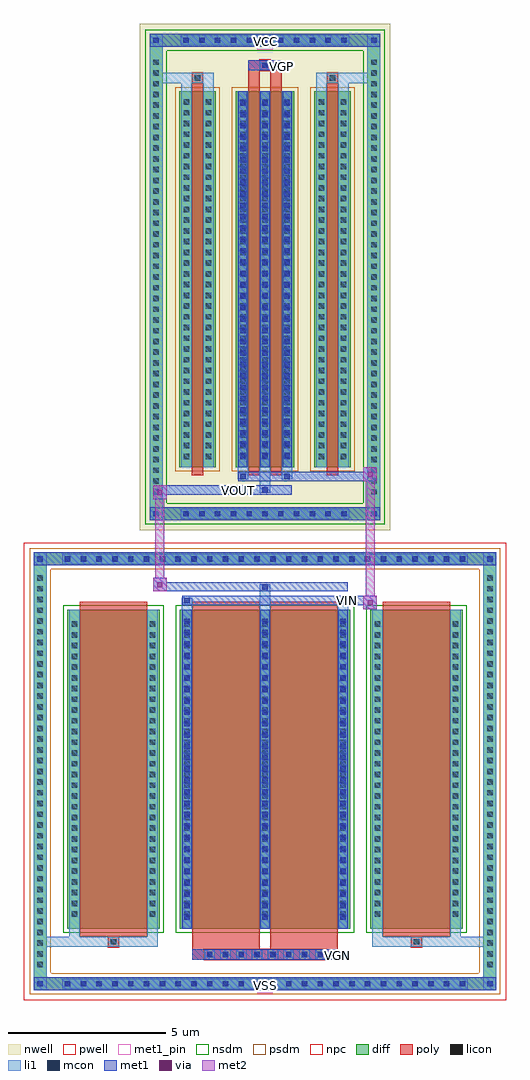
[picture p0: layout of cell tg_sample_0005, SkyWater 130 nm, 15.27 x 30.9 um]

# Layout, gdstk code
import gdstk
lib = gdstk.Library(unit=1e-6, precision=5e-09)
def R(c, l, rs):  # rectangles x0, y0, x1, y1
    for r in rs: c.add(gdstk.rectangle(r[:2], r[2:], *l))
def A(c, l, x, y, w, h, nx, ny, dx, dy):  # array of equal rectangles
    R(c, l, [(x+i*dx, y+j*dy, x+i*dx+w, y+j*dy+h) for i in range(nx) for j in range(ny)])
def P(c, l, *ps):  # polygons
    for p in ps: c.add(gdstk.Polygon(p, *l))
nwell = (64, 20)
pwell = (64, 44)
diff = (65, 20)
poly = (66, 20)
licon = (66, 44)
li1 = (67, 20)
mcon = (67, 44)
met1_pin = (68, 16)
met1 = (68, 20)
via = (68, 44)
met2 = (69, 20)
nsdm = (93, 44)
psdm = (94, 20)
npc = (95, 20)

tg_sample_0005 = lib.new_cell('tg_sample_0005')
R(tg_sample_0005, nwell, [(-3.965,7.64,3.965,23.66)])
R(tg_sample_0005, pwell, [(-7.635,-7.24,7.635,7.24)])
A(tg_sample_0005, diff, -6.455, -6.93, 0.41, 0.41, 26, 2, 0.5, 13.45)
A(tg_sample_0005, diff, -7.325, -6.325, 0.41, 0.41, 1, 37, 0, 0.34)
A(tg_sample_0005, diff, 6.915, -6.325, 0.41, 0.41, 1, 37, 0, 0.34)
A(tg_sample_0005, diff, -2.705, 7.95, 0.41, 0.41, 11, 2, 0.5, 14.99)
A(tg_sample_0005, diff, -3.655, 8.645, 0.41, 0.41, 1, 41, 0, 0.34)
A(tg_sample_0005, diff, 3.245, 8.645, 0.41, 0.41, 1, 41, 0, 0.34)
R(tg_sample_0005, diff, [(-6.455,-6.93,6.455,-6.52), (-7.325,-6.325,-6.915,6.325), (6.915,-6.325,7.325,6.325), (-6.255,-4.98,-3.335,5.12), (-2.695,-4.98,2.695,5.12), (3.335,-4.98,6.255,5.12), (-6.455,6.52,6.455,6.93), (-2.705,7.95,2.705,8.36), (-3.655,8.645,-3.245,22.655), (3.245,8.645,3.655,22.655), (-2.715,9.625,-1.565,21.535), (-0.925,9.625,0.925,21.535), (1.565,9.625,2.715,21.535), (-2.705,22.94,2.705,23.35)])
P(tg_sample_0005, diff, [(7.325,6.93),(-7.325,6.93),(-7.325,-6.52),(-6.915,-6.52),(-6.915,6.52),(6.915,6.52),(6.915,-6.52),(-6.915,-6.52),(-7.325,-6.52),(-7.325,-6.93),(7.325,-6.93)],
  [(3.655,7.95),(-3.655,7.95),(-3.655,22.94),(-3.245,22.94),(-3.245,8.36),(3.245,8.36),(3.245,22.94),(-3.245,22.94),(-3.655,22.94),(-3.655,23.35),(3.655,23.35)])
A(tg_sample_0005, poly, -1.915, -5.96, 0.33, 0.33, 8, 1, 0.5, 0)
R(tg_sample_0005, poly, [(-2.305,-5.96,2.305,-5.63), (-2.305,-5.63,-0.165,-5.23), (0.165,-5.63,2.305,-5.23), (-4.96,-5.56,-4.63,-5.23), (-4.96,-5.56,-4.63,-5.23), (4.63,-5.56,4.96,-5.23), (4.63,-5.56,4.96,-5.23), (-5.865,-5.23,-3.725,5.37), (-2.305,-5.23,-0.165,5.37), (0.165,-5.23,2.305,5.37), (3.725,-5.23,5.865,5.37), (-2.325,9.375,-1.955,21.785), (-0.535,9.375,-0.165,21.785), (0.165,9.375,0.535,21.785), (1.955,9.375,2.325,21.785), (-2.305,21.785,-1.975,22.115), (-2.305,21.785,-1.975,22.115), (-0.535,21.785,-0.165,22.19), (0.165,21.785,0.535,22.19), (1.975,21.785,2.305,22.115), (1.975,21.785,2.305,22.115), (-0.535,22.19,0.535,22.52), (-0.165,22.19,0.165,22.52)])
A(tg_sample_0005, licon, -6.335, -6.81, 0.17, 0.17, 26, 2, 0.5, 13.45)
A(tg_sample_0005, licon, -7.205, -6.205, 0.17, 0.17, 1, 37, 0, 0.34)
A(tg_sample_0005, licon, 7.035, -6.205, 0.17, 0.17, 1, 37, 0, 0.34)
A(tg_sample_0005, licon, -1.835, -5.88, 0.17, 0.17, 8, 1, 0.5, 0)
A(tg_sample_0005, licon, -6.115, -4.605, 0.17, 0.17, 1, 28, 0, 0.34)
A(tg_sample_0005, licon, -3.645, -4.605, 0.17, 0.17, 1, 28, 0, 0.34)
A(tg_sample_0005, licon, -2.555, -4.605, 0.17, 0.17, 3, 28, 2.47, 0.34)
A(tg_sample_0005, licon, 3.475, -4.605, 0.17, 0.17, 1, 28, 0, 0.34)
A(tg_sample_0005, licon, 5.945, -4.605, 0.17, 0.17, 1, 28, 0, 0.34)
A(tg_sample_0005, licon, -2.585, 8.07, 0.17, 0.17, 11, 2, 0.5, 14.99)
A(tg_sample_0005, licon, -3.535, 8.765, 0.17, 0.17, 1, 41, 0, 0.34)
A(tg_sample_0005, licon, 3.365, 8.765, 0.17, 0.17, 1, 41, 0, 0.34)
A(tg_sample_0005, licon, -2.575, 9.885, 0.17, 0.17, 1, 34, 0, 0.34)
A(tg_sample_0005, licon, -1.875, 9.885, 0.17, 0.17, 1, 34, 0, 0.34)
A(tg_sample_0005, licon, -0.785, 9.885, 0.17, 0.17, 3, 34, 0.7, 0.34)
A(tg_sample_0005, licon, 1.705, 9.885, 0.17, 0.17, 1, 34, 0, 0.34)
A(tg_sample_0005, licon, 2.405, 9.885, 0.17, 0.17, 1, 34, 0, 0.34)
R(tg_sample_0005, licon, [(-4.88,-5.48,-4.71,-5.31), (4.71,-5.48,4.88,-5.31), (-2.225,21.865,-2.055,22.035), (2.055,21.865,2.225,22.035), (-0.085,22.27,0.085,22.44)])
A(tg_sample_0005, li1, -6.415, -6.89, 0.33, 0.33, 26, 2, 0.5, 13.45)
A(tg_sample_0005, li1, -7.285, -6.285, 0.33, 0.33, 1, 37, 0, 0.34)
A(tg_sample_0005, li1, 6.955, -6.285, 0.33, 0.33, 1, 37, 0, 0.34)
A(tg_sample_0005, li1, -1.915, -5.96, 0.33, 0.33, 8, 1, 0.5, 0)
A(tg_sample_0005, li1, -2.635, -4.98, 0.33, 10.1, 3, 1, 2.47, 0)
A(tg_sample_0005, li1, -2.555, -4.695, 0.17, 0.17, 3, 27, 2.47, 0.36)
A(tg_sample_0005, li1, -2.555, -4.695, 0.17, 9.53, 3, 1, 2.47, 0)
A(tg_sample_0005, li1, -6.195, -4.685, 0.33, 0.33, 1, 28, 0, 0.34)
A(tg_sample_0005, li1, -3.725, -4.685, 0.33, 0.33, 1, 28, 0, 0.34)
A(tg_sample_0005, li1, -2.635, -4.685, 0.33, 0.33, 3, 28, 2.47, 0.34)
A(tg_sample_0005, li1, 3.395, -4.685, 0.33, 0.33, 1, 28, 0, 0.34)
A(tg_sample_0005, li1, 5.865, -4.685, 0.33, 0.33, 1, 28, 0, 0.34)
A(tg_sample_0005, li1, -2.665, 7.99, 0.33, 0.33, 11, 2, 0.5, 14.99)
A(tg_sample_0005, li1, -3.615, 8.685, 0.33, 0.33, 1, 41, 0, 0.34)
A(tg_sample_0005, li1, 3.285, 8.685, 0.33, 0.33, 1, 41, 0, 0.34)
A(tg_sample_0005, li1, -0.865, 9.625, 0.33, 11.91, 3, 1, 0.7, 0)
A(tg_sample_0005, li1, -2.655, 9.805, 0.33, 0.33, 1, 34, 0, 0.34)
A(tg_sample_0005, li1, -1.955, 9.805, 0.33, 0.33, 1, 34, 0, 0.34)
A(tg_sample_0005, li1, -0.865, 9.805, 0.33, 0.33, 3, 34, 0.7, 0.34)
A(tg_sample_0005, li1, 1.625, 9.805, 0.33, 0.33, 1, 34, 0, 0.34)
A(tg_sample_0005, li1, 2.325, 9.805, 0.33, 0.33, 1, 34, 0, 0.34)
A(tg_sample_0005, li1, -0.785, 9.915, 0.17, 0.17, 3, 32, 0.7, 0.36)
A(tg_sample_0005, li1, -0.785, 9.915, 0.17, 11.33, 3, 1, 0.7, 0)
R(tg_sample_0005, li1, [(-7.325,-6.93,-6.915,-6.52), (6.915,-6.93,7.325,-6.52), (-6.415,-6.89,6.415,-6.56), (-7.205,-6.81,-7.035,-6.64), (-7.205,-6.81,-7.035,-6.64), (7.035,-6.81,7.205,-6.64), (7.035,-6.81,7.205,-6.64), (-7.325,-6.52,-6.915,6.52), (6.915,-6.52,7.325,6.52), (-7.325,-5.56,-4.96,-5.23), (-6.195,-5.56,-4.96,-5.23), (-6.195,-5.56,-5.865,-4.98), (-4.96,-5.56,-4.63,-5.23), (-4.63,-5.56,-3.395,-5.23), (-3.725,-5.56,-3.395,-4.98), (3.395,-5.56,4.63,-5.23), (3.395,-5.56,3.725,-4.98), (4.63,-5.56,4.96,-5.23), (4.63,-5.56,7.325,-5.23), (4.96,-5.56,6.195,-5.23), (5.865,-5.56,6.195,-4.98), (-6.195,-4.98,-5.865,5.12), (-3.725,-4.98,-3.395,5.12), (3.395,-4.98,3.725,5.12), (5.865,-4.98,6.195,5.12), (-2.635,5.12,-2.305,5.495), (-0.165,5.12,0.165,5.925), (2.305,5.12,2.635,5.495), (-2.555,5.325,-2.385,5.495), (2.385,5.325,2.555,5.495), (-0.085,5.755,0.085,5.925), (-7.325,6.52,-6.915,6.93), (6.915,6.52,7.325,6.93), (-6.415,6.56,6.415,6.89), (-7.205,6.64,-7.035,6.81), (-7.205,6.64,-7.035,6.81), (7.035,6.64,7.205,6.81), (7.035,6.64,7.205,6.81), (-3.655,7.95,-3.245,8.36), (3.245,7.95,3.655,8.36), (-2.665,7.99,2.665,8.32), (-3.535,8.07,-3.365,8.24), (-3.535,8.07,-3.365,8.24), (3.365,8.07,3.535,8.24), (3.365,8.07,3.535,8.24), (-3.655,8.36,-3.245,22.94), (3.245,8.36,3.655,22.94), (-0.165,8.82,0.165,9.625), (-0.085,8.82,0.085,8.99), (-0.865,9.25,-0.535,9.625), (-0.785,9.25,-0.615,9.42), (0.535,9.25,0.865,9.625), (0.615,9.25,0.785,9.42), (-2.655,9.625,-2.325,21.535), (-1.955,9.625,-1.625,21.535), (1.625,9.625,1.955,21.535), (2.325,9.625,2.655,21.535), (-2.655,21.535,-2.325,22.115), (-1.955,21.535,-1.625,22.115), (1.625,21.535,1.955,22.115), (2.325,21.535,2.655,22.115), (-3.655,21.785,-2.305,22.115), (-2.655,21.785,-2.305,22.115), (-2.305,21.785,-1.975,22.115), (-1.975,21.785,-1.625,22.115), (1.625,21.785,1.975,22.115), (1.975,21.785,2.305,22.115), (1.975,21.785,3.655,22.115), (2.305,21.785,2.655,22.115), (-0.165,22.19,0.165,22.52), (-3.655,22.94,-3.245,23.35), (3.245,22.94,3.655,23.35), (-2.665,22.98,2.665,23.31), (-3.535,23.06,-3.365,23.23), (-3.535,23.06,-3.365,23.23), (3.365,23.06,3.535,23.23), (3.365,23.06,3.535,23.23)])
A(tg_sample_0005, mcon, -6.335, -6.81, 0.17, 0.17, 26, 2, 0.5, 13.45)
A(tg_sample_0005, mcon, -1.835, -5.88, 0.17, 0.17, 8, 1, 0.5, 0)
A(tg_sample_0005, mcon, -2.555, -4.695, 0.17, 0.17, 3, 27, 2.47, 0.36)
A(tg_sample_0005, mcon, -2.585, 8.07, 0.17, 0.17, 11, 2, 0.5, 14.99)
A(tg_sample_0005, mcon, -0.785, 9.915, 0.17, 0.17, 3, 32, 0.7, 0.36)
R(tg_sample_0005, mcon, [(-7.205,-6.81,-7.035,-6.64), (7.035,-6.81,7.205,-6.64), (-2.555,5.325,-2.385,5.495), (2.385,5.325,2.555,5.495), (-0.085,5.755,0.085,5.925), (-7.205,6.64,-7.035,6.81), (7.035,6.64,7.205,6.81), (-3.535,8.07,-3.365,8.24), (3.365,8.07,3.535,8.24), (-0.085,8.82,0.085,8.99), (-0.785,9.25,-0.615,9.42), (0.615,9.25,0.785,9.42), (-0.085,22.27,0.085,22.44), (-3.535,23.06,-3.365,23.23), (3.365,23.06,3.535,23.23)])
R(tg_sample_0005, met1_pin, [(-0.25,-7.02,0.25,-6.52), (2.17,-5.96,2.44,-5.69), (2.48,5.265,2.75,5.535), (-0.98,8.76,-0.71,9.03), (0.4,22.19,0.67,22.46), (-0.25,22.85,0.25,23.35)])
A(tg_sample_0005, met1, -6.395, -6.87, 0.29, 0.29, 26, 2, 0.5, 13.45)
A(tg_sample_0005, met1, -1.895, -5.94, 0.29, 0.29, 8, 1, 0.5, 0)
A(tg_sample_0005, met1, -2.615, -4.98, 0.29, 10.1, 3, 1, 2.47, 0)
A(tg_sample_0005, met1, -2.615, -4.755, 0.29, 0.29, 3, 27, 2.47, 0.36)
A(tg_sample_0005, met1, -2.645, 8.01, 0.29, 0.29, 11, 2, 0.5, 14.99)
A(tg_sample_0005, met1, -0.845, 9.625, 0.29, 11.91, 3, 1, 0.7, 0)
A(tg_sample_0005, met1, -0.845, 9.855, 0.29, 0.29, 3, 32, 0.7, 0.36)
R(tg_sample_0005, met1, [(-7.325,-6.93,-6.915,-6.52), (-7.325,-6.93,-6.915,-6.52), (-6.915,-6.93,6.915,-6.52), (6.915,-6.93,7.325,-6.52), (6.915,-6.93,7.325,-6.52), (-7.265,-6.87,-6.975,-6.58), (6.975,-6.87,7.265,-6.58), (-2.305,-5.96,2.305,-5.63), (3.115,5.125,3.545,5.555), (-2.615,5.265,-2.325,5.555), (-2.615,5.265,2.615,5.555), (2.325,5.265,2.615,5.555), (2.615,5.265,3.545,5.555), (-3.545,5.695,-2.615,5.985), (-3.545,5.695,-3.115,6.125), (-2.615,5.695,2.615,5.985), (-0.145,5.695,0.145,5.985), (-7.325,6.52,-6.915,6.93), (-7.325,6.52,-6.915,6.93), (-6.915,6.52,6.915,6.93), (6.915,6.52,7.325,6.93), (6.915,6.52,7.325,6.93), (-7.265,6.58,-6.975,6.87), (6.975,6.58,7.265,6.87), (-3.655,7.95,-3.245,8.36), (-3.655,7.95,-3.245,8.36), (-3.245,7.95,3.245,8.36), (3.245,7.95,3.655,8.36), (3.245,7.95,3.655,8.36), (-3.595,8.01,-3.305,8.3), (3.305,8.01,3.595,8.3), (-3.545,8.62,-3.115,9.05), (-3.545,8.76,-0.845,9.05), (-0.845,8.76,0.845,9.05), (-0.145,8.76,0.145,9.05), (-0.845,9.19,-0.555,9.48), (-0.845,9.19,0.845,9.48), (0.555,9.19,0.845,9.48), (0.845,9.19,3.545,9.48), (3.115,9.19,3.545,9.62), (-0.535,22.19,0.535,22.52), (-0.145,22.21,0.145,22.5), (-3.655,22.94,-3.245,23.35), (-3.655,22.94,-3.245,23.35), (-3.245,22.94,3.245,23.35), (3.245,22.94,3.655,23.35), (3.245,22.94,3.655,23.35), (-3.595,23,-3.305,23.29), (3.305,23,3.595,23.29)])
R(tg_sample_0005, via, [(3.255,5.265,3.405,5.415), (-3.405,5.835,-3.255,5.985), (-3.405,8.76,-3.255,8.91), (3.255,9.33,3.405,9.48)])
R(tg_sample_0005, met2, [(3.115,5.125,3.545,5.555), (3.185,5.125,3.475,9.62), (3.475,5.125,3.545,5.555), (3.165,5.175,3.495,5.505), (-3.545,5.695,-3.115,6.125), (-3.475,5.695,-3.185,9.05), (-3.185,5.695,-3.115,6.125), (-3.495,5.745,-3.165,6.075), (-3.545,8.62,-3.115,9.05), (-3.185,8.62,-3.115,9.05), (-3.495,8.67,-3.165,9), (3.115,9.19,3.545,9.62), (3.475,9.19,3.545,9.62), (3.165,9.24,3.495,9.57)])
R(tg_sample_0005, nsdm, [(-6.385,-5.11,-3.205,5.25), (-2.825,-5.11,2.825,5.25), (3.205,-5.11,6.385,5.25)])
P(tg_sample_0005, nsdm, [(3.785,7.82),(-3.785,7.82),(-3.785,22.81),(-3.115,22.81),(-3.115,8.49),(3.115,8.49),(3.115,22.81),(-3.115,22.81),(-3.785,22.81),(-3.785,23.48),(3.785,23.48)])
R(tg_sample_0005, psdm, [(-2.845,9.495,-1.435,21.665), (-1.055,9.495,1.055,21.665), (1.435,9.495,2.845,21.665)])
P(tg_sample_0005, psdm, [(7.455,7.06),(-7.455,7.06),(-7.455,-6.39),(-6.785,-6.39),(-6.785,6.39),(6.785,6.39),(6.785,-6.39),(-6.785,-6.39),(-7.455,-6.39),(-7.455,-7.06),(7.455,-7.06)])
A(tg_sample_0005, npc, -1.935, -5.98, 0.37, 0.37, 8, 1, 0.5, 0)
R(tg_sample_0005, npc, [(-1.935,-5.98,-1.065,-5.61), (-1.935,-5.98,-1.065,-5.61), (-1.435,-5.98,-0.565,-5.61), (-1.435,-5.98,-0.565,-5.61), (-0.935,-5.98,-0.065,-5.61), (-0.935,-5.98,-0.065,-5.61), (-0.435,-5.98,0.435,-5.61), (-0.435,-5.98,0.435,-5.61), (0.065,-5.98,0.935,-5.61), (0.065,-5.98,0.935,-5.61), (0.565,-5.98,1.435,-5.61), (0.565,-5.98,1.435,-5.61), (1.065,-5.98,1.935,-5.61), (1.065,-5.98,1.935,-5.61), (-4.98,-5.58,-4.61,-5.21), (4.61,-5.58,4.98,-5.21), (-2.325,21.765,-1.955,22.135), (1.955,21.765,2.325,22.135), (-0.185,22.17,0.185,22.54)])
tg_sample_0005.add(gdstk.Label('VIN', (2.615,5.4), layer=68, texttype=5))
tg_sample_0005.add(gdstk.Label('VGN', (2.305,-5.825), layer=68, texttype=5))
tg_sample_0005.add(gdstk.Label('VGP', (0.535,22.325), layer=68, texttype=5))
tg_sample_0005.add(gdstk.Label('VSS', (0,-6.77), layer=68, texttype=5))
tg_sample_0005.add(gdstk.Label('VCC', (0,23.1), layer=68, texttype=5))
tg_sample_0005.add(gdstk.Label('VOUT', (-0.845,8.895), layer=68, texttype=5))

lib.write_gds('tg_sample_0005.gds')
